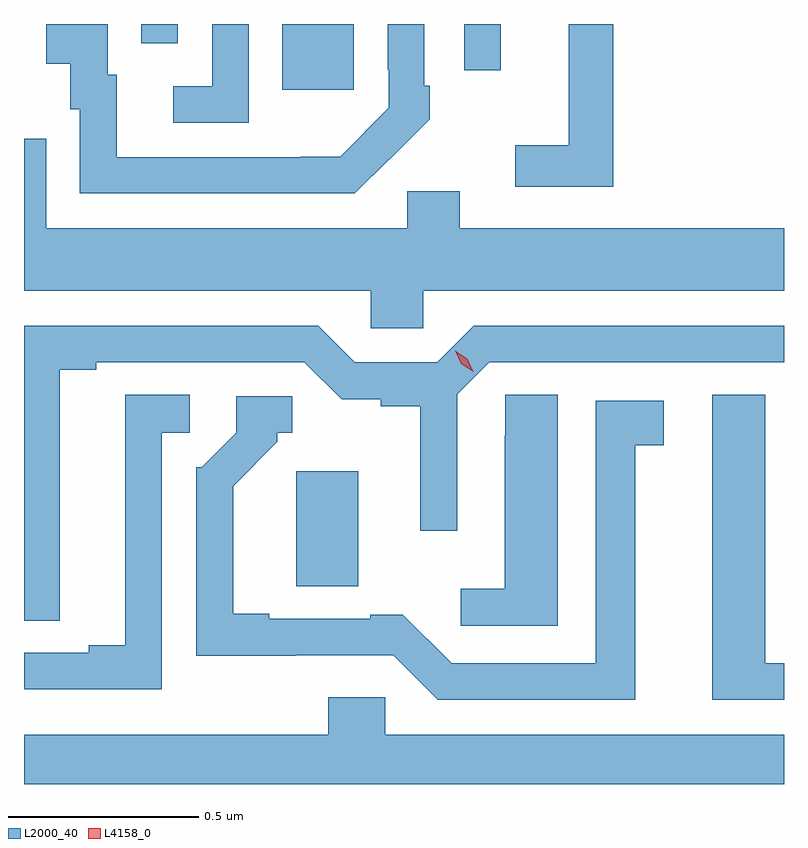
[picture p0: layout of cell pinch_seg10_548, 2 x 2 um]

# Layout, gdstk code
import gdstk
lib = gdstk.Library(unit=1e-6, precision=1e-09)
def R(c, l, rs):  # rectangles x0, y0, x1, y1
    for r in rs: c.add(gdstk.rectangle(r[:2], r[2:], *l))
def P(c, l, *ps):  # polygons
    for p in ps: c.add(gdstk.Polygon(p, *l))
L2000_40 = (2000, 40)
L4158_0 = (4158, 0)

pinch_seg10_548 = lib.new_cell('pinch_seg10_548')
R(pinch_seg10_548, L2000_40, [(241.007,1286.193,241.195,1286.366), (241.485,1286.244,241.581,1286.366), (240.636,1286.316,240.732,1286.366)])
P(pinch_seg10_548, L2000_40, [(241.877,1286.366),(241.76,1286.366),(241.76,1286.047),(241.62,1286.047),(241.62,1285.938),(241.877,1285.938)],
  [(241.289,1286.011),(241.29,1286.01),(241.395,1286.115),(241.395,1286.203),(241.38,1286.203),(241.38,1286.366),(241.284,1286.366),(241.284,1286.245),(241.287,1286.245),(241.287,1286.145),(241.159,1286.017),(241.055,1286.017),(241.055,1286.016),(240.571,1286.016),(240.571,1286.232),(240.547,1286.232),(240.547,1286.366),(240.386,1286.366),(240.386,1286.261),(240.449,1286.261),(240.449,1286.142),(240.474,1286.142),(240.474,1285.92),(241.198,1285.92)],
  [(240.918,1286.366),(240.822,1286.366),(240.822,1286.202),(240.72,1286.202),(240.72,1286.106),(240.918,1286.106)],
  [(241.377,1285.664),(242.327,1285.664),(242.327,1285.828),(241.474,1285.828),(241.474,1285.926),(241.335,1285.926),(241.335,1285.828),(240.385,1285.828),(240.385,1286.064),(240.327,1286.064),(240.327,1285.664),(241.239,1285.664),(241.239,1285.566),(241.377,1285.566)],
  [(240.421,1285.456),(240.517,1285.456),(240.517,1285.476),(241.065,1285.476),(241.163,1285.379),(241.266,1285.379),(241.266,1285.36),(241.37,1285.36),(241.37,1285.032),(241.467,1285.032),(241.467,1285.392),(241.551,1285.476),(242.327,1285.476),(242.327,1285.572),(241.511,1285.572),(241.415,1285.476),(241.197,1285.476),(241.101,1285.572),(240.327,1285.572),(240.327,1284.796),(240.421,1284.796)],
  [(241.732,1285.391),(241.593,1285.391),(241.593,1285.283),(241.592,1285.283),(241.592,1284.88),(241.476,1284.88),(241.476,1284.783),(241.732,1284.783)],
  [(240.69,1285.29),(240.763,1285.29),(240.763,1285.391),(240.593,1285.391),(240.593,1284.731),(240.497,1284.731),(240.497,1284.711),(240.327,1284.711),(240.327,1284.615),(240.69,1284.615)],
  [(242.327,1284.684),(242.278,1284.684),(242.278,1285.39),(242.138,1285.39),(242.138,1284.588),(242.327,1284.588)],
  [(241.936,1285.258),(242.011,1285.258),(242.011,1285.374),(241.832,1285.374),(241.832,1284.684),(241.452,1284.684),(241.324,1284.812),(241.238,1284.812),(241.238,1284.801),(240.973,1284.801),(240.973,1284.814),(240.877,1284.814),(240.877,1285.15),(240.994,1285.267),(240.994,1285.29),(241.033,1285.29),(241.033,1285.386),(240.885,1285.386),(240.885,1285.29),(240.795,1285.2),(240.78,1285.2),(240.78,1284.704),(241.043,1284.704),(241.043,1284.705),(241.299,1284.705),(241.416,1284.588),(241.936,1284.588)],
  [(241.206,1285.044),(241.207,1285.044),(241.207,1285.189),(241.043,1285.189),(241.043,1284.886),(241.206,1284.886)],
  [(242.327,1284.496),(241.278,1284.496),(241.278,1284.594),(241.127,1284.594),(241.127,1284.496),(240.327,1284.496),(240.327,1284.366),(242.327,1284.366)])
P(pinch_seg10_548, L4158_0, [(241.509,1285.451),(241.478,1285.472),(241.462,1285.506),(241.462,1285.506),(241.462,1285.506),(241.493,1285.485),(241.509,1285.451),(241.509,1285.451)])

lib.write_gds('pinch_seg10_548.gds')
